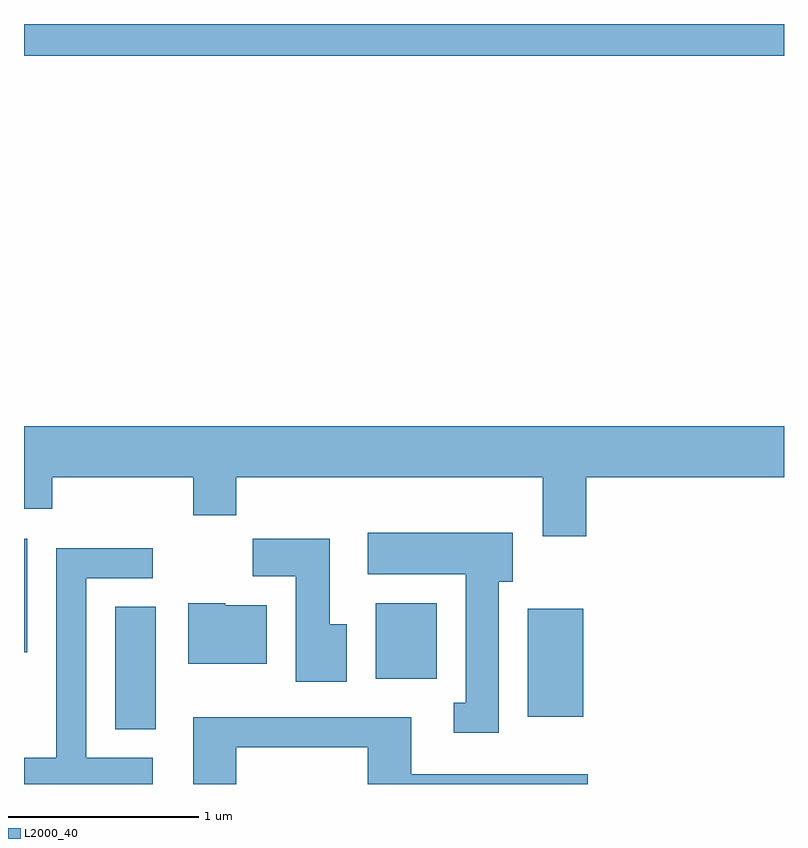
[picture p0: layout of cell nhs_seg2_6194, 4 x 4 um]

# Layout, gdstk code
import gdstk
lib = gdstk.Library(unit=1e-6, precision=1e-09)
def R(c, l, rs):  # rectangles x0, y0, x1, y1
    for r in rs: c.add(gdstk.rectangle(r[:2], r[2:], *l))
def P(c, l, *ps):  # polygons
    for p in ps: c.add(gdstk.Polygon(p, *l))
L2000_40 = (2000, 40)

nhs_seg2_6194 = lib.new_cell('nhs_seg2_6194')
R(nhs_seg2_6194, L2000_40, [(368.091,1058.091,368.304,1058.734), (370.261,1058.156,370.554,1058.724), (369.461,1058.356,369.784,1058.754), (367.611,1058.496,367.629,1059.094), (367.611,1061.636,371.611,1061.802)])
P(nhs_seg2_6194, L2000_40, [(370.569,1059.416),(371.611,1059.416),(371.611,1059.684),(367.611,1059.684),(367.611,1059.251),(367.759,1059.251),(367.759,1059.416),(368.501,1059.416),(368.501,1059.216),(368.729,1059.216),(368.729,1059.416),(370.341,1059.416),(370.341,1059.106),(370.569,1059.106)],
  [(370.109,1058.866),(370.184,1058.866),(370.184,1059.124),(369.421,1059.124),(369.421,1058.906),(369.936,1058.906),(369.936,1058.229),(369.873,1058.229),(369.873,1058.071),(370.109,1058.071)],
  [(369.309,1058.644),(369.219,1058.644),(369.219,1059.094),(368.816,1059.094),(368.816,1058.896),(369.041,1058.896),(369.041,1058.341),(369.309,1058.341)],
  [(368.288,1057.939),(367.939,1057.939),(367.939,1058.886),(368.288,1058.886),(368.288,1059.044),(367.781,1059.044),(367.781,1057.939),(367.611,1057.939),(367.611,1057.802),(368.288,1057.802)],
  [(368.889,1058.744),(368.67,1058.744),(368.67,1058.754),(368.476,1058.754),(368.476,1058.436),(368.889,1058.436)],
  [(368.729,1057.996),(369.421,1057.996),(369.421,1057.802),(370.578,1057.802),(370.578,1057.854),(369.649,1057.854),(369.649,1058.154),(368.501,1058.154),(368.501,1057.802),(368.729,1057.802)])

lib.write_gds('nhs_seg2_6194.gds')
